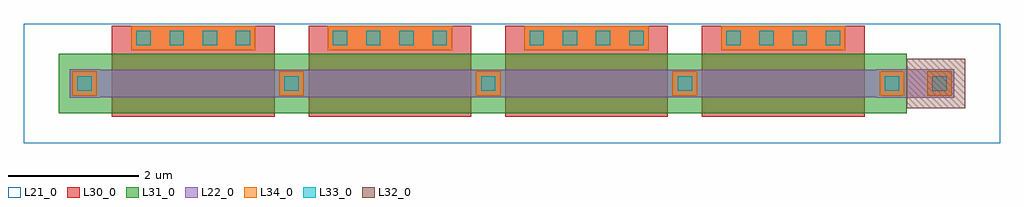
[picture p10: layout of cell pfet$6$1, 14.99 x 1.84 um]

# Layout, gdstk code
import gdstk
lib = gdstk.Library(unit=1e-6, precision=5e-09)
def R(c, l, rs):  # rectangles x0, y0, x1, y1
    for r in rs: c.add(gdstk.rectangle(r[:2], r[2:], *l))
def A(c, l, x, y, w, h, nx, ny, dx, dy):  # array of equal rectangles
    R(c, l, [(x+i*dx, y+j*dy, x+i*dx+w, y+j*dy+h) for i in range(nx) for j in range(ny)])
L21_0 = (21, 0)
L22_0 = (22, 0)
L30_0 = (30, 0)
L31_0 = (31, 0)
L32_0 = (32, 0)
L33_0 = (33, 0)
L34_0 = (34, 0)

pfet_6_1 = lib.new_cell('pfet$6$1')
R(pfet_6_1, L21_0, [(-1.16,-0.71,13.83,1.13)])
R(pfet_6_1, L22_0, [(-0.46,-0.01,0,0.43), (11.94,-0.01,12.4,0.43), (12.4,-0.01,13.13,0.43), (0,0,11.94,0.42)])
A(pfet_6_1, L30_0, 0.19, -0.3, 2.5, 1.02, 4, 1, 3.02, 0)
A(pfet_6_1, L30_0, 0.19, 0.72, 2.5, 0.38, 4, 1, 3.02, 0)
R(pfet_6_1, L31_0, [(-0.63,-0.25,12.4,0.67)])
R(pfet_6_1, L32_0, [(12.4,-0.17,13.3,0.59)])
A(pfet_6_1, L33_0, 2.84, 0.1, 0.22, 0.22, 3, 1, 3.02, 0)
A(pfet_6_1, L33_0, 0.565, 0.8, 0.22, 0.22, 4, 1, 0.51, 0)
A(pfet_6_1, L33_0, 3.585, 0.8, 0.22, 0.22, 4, 1, 0.51, 0)
A(pfet_6_1, L33_0, 6.605, 0.8, 0.22, 0.22, 4, 1, 0.51, 0)
A(pfet_6_1, L33_0, 9.625, 0.8, 0.22, 0.22, 4, 1, 0.51, 0)
R(pfet_6_1, L33_0, [(-0.34,0.1,-0.12,0.32), (12.06,0.1,12.28,0.32), (12.79,0.1,13.01,0.32)])
A(pfet_6_1, L34_0, 2.76, 0.02, 0.38, 0.38, 3, 1, 3.02, 0)
A(pfet_6_1, L34_0, 0.485, 0.72, 1.91, 0.38, 4, 1, 3.02, 0)
R(pfet_6_1, L34_0, [(-0.42,0.02,-0.04,0.4), (11.98,0.02,12.36,0.4), (12.71,0.02,13.09,0.4)])

lib.write_gds('pfet_6_1.gds')
